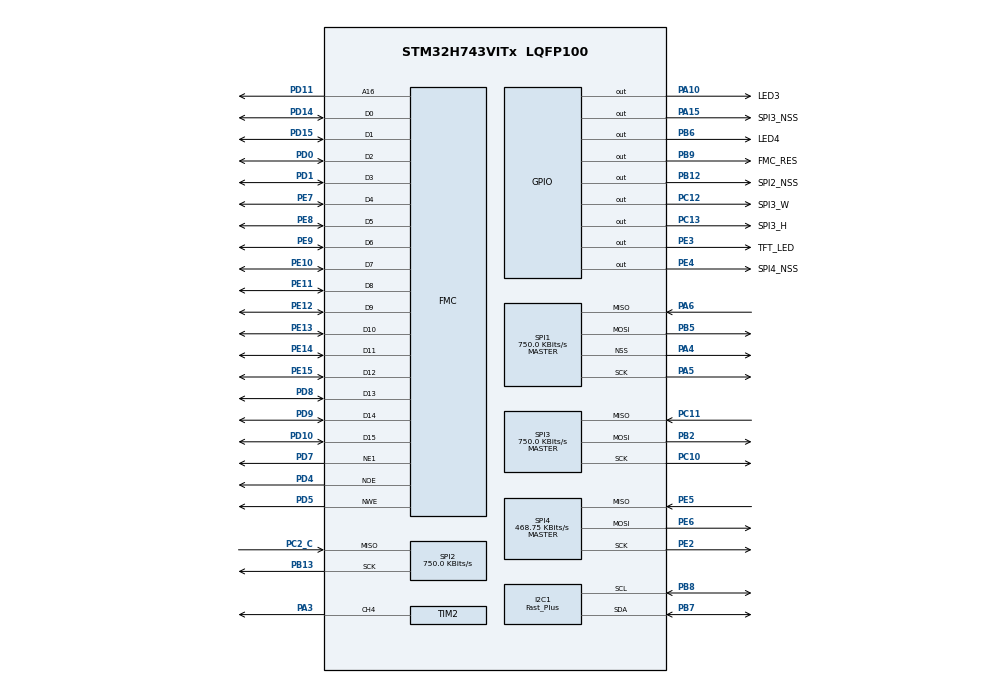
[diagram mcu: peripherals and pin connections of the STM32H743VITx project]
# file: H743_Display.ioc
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FMC.AddressSetupTime1=1
FMC.BusTurnAroundDuration1=1
FMC.DataSetupTime1=1
I2C1.I2C_Speed_Mode=I2C_Fast_Plus
I2C1.Speed=100
I2C1.Timing=0x301027FF
Mcu.Family=STM32H7
Mcu.Name=STM32H743VITx
Mcu.Package=LQFP100
NVIC.PriorityGroup=NVIC_PRIORITYGROUP_4
PA10.GPIO_Label=LED3
PA10.Signal=GPIO_Output
PA13\ (JTMS/SWDIO).Mode=Serial_Wire
PA13\ (JTMS/SWDIO).Signal=DEBUG_JTMS-SWDIO
PA14\ (JTCK/SWCLK).Mode=Serial_Wire
PA14\ (JTCK/SWCLK).Signal=DEBUG_JTCK-SWCLK
PA15\ (JTDI).GPIO_Label=SPI3_NSS
PA15\ (JTDI).Signal=GPIO_Output
PA3.Signal=S_TIM2_CH4
PA4.Mode=NSS_Signal_Hard_Output
PA4.Signal=SPI1_NSS
PA5.Mode=Full_Duplex_Master
PA5.Signal=SPI1_SCK
PA6.Mode=Full_Duplex_Master
PA6.Signal=SPI1_MISO
PB12.GPIO_Label=SPI2_NSS
PB12.Signal=GPIO_Output
PB13.Mode=RX_Only_Simplex_Unidirect_Master
PB13.Signal=SPI2_SCK
PB2.Mode=Full_Duplex_Master
PB2.Signal=SPI3_MOSI
PB5.Mode=Full_Duplex_Master
PB5.Signal=SPI1_MOSI
PB6.GPIO_Label=LED4
PB6.Signal=GPIO_Output
PB7.Mode=I2C
PB7.Signal=I2C1_SDA
PB8.Mode=I2C
PB8.Signal=I2C1_SCL
PB9.GPIO_Label=FMC_RES
PB9.Signal=GPIO_Output
PC10.Mode=Full_Duplex_Master
PC10.Signal=SPI3_SCK
PC11.Mode=Full_Duplex_Master
PC11.Signal=SPI3_MISO
PC12.GPIO_Label=SPI3_W
PC12.Signal=GPIO_Output
PC13.GPIO_Label=SPI3_H
PC13.Signal=GPIO_Output
PC2_C.Mode=RX_Only_Simplex_Unidirect_Master
PC2_C.Signal=SPI2_MISO
PD0.Signal=FMC_D2_DA2
PD1.Signal=FMC_D3_DA3
PD10.Signal=FMC_D15_DA15
PD11.Signal=FMC_A16_CLE
PD14.Signal=FMC_D0_DA0
PD15.Signal=FMC_D1_DA1
PD4.Signal=FMC_NOE
PD5.Signal=FMC_NWE
PD7.Mode=NorPsramChipSelect1_1
PD7.Signal=FMC_NE1
PD8.Signal=FMC_D13_DA13
PD9.Signal=FMC_D14_DA14
PE10.Signal=FMC_D7_DA7
PE11.Signal=FMC_D8_DA8
PE12.Signal=FMC_D9_DA9
PE13.Signal=FMC_D10_DA10
PE14.Signal=FMC_D11_DA11
PE15.Signal=FMC_D12_DA12
PE2.Mode=Full_Duplex_Master
PE2.Signal=SPI4_SCK
PE3.GPIO_Label=TFT_LED
PE3.Signal=GPIO_Output
PE4.GPIO_Label=SPI4_NSS
PE4.Signal=GPIO_Output
PE5.Mode=Full_Duplex_Master
PE5.Signal=SPI4_MISO
PE6.Mode=Full_Duplex_Master
PE6.Signal=SPI4_MOSI
PE7.Signal=FMC_D4_DA4
PE8.Signal=FMC_D5_DA5
PE9.Signal=FMC_D6_DA6
PH0-OSC_IN\ (PH0).Mode=HSE-External-Oscillator
PH0-OSC_IN\ (PH0).Signal=RCC_OSC_IN
PH1-OSC_OUT\ (PH1).Mode=HSE-External-Oscillator
PH1-OSC_OUT\ (PH1).Signal=RCC_OSC_OUT
ProjectManager.HeapSize=0x200
ProjectManager.StackSize=0x400
ProjectManager.TargetToolchain=STM32CubeIDE
RCC.ADCFreq_Value=16125000
RCC.APB1Freq_Value=120000000
RCC.APB2Freq_Value=120000000
RCC.APB3Freq_Value=120000000
RCC.APB4Freq_Value=120000000
RCC.CortexFreq_Value=480000000
RCC.D1PPRE=RCC_APB3_DIV2
RCC.D2PPRE1=RCC_APB1_DIV2
RCC.D2PPRE2=RCC_APB2_DIV2
RCC.D3PPRE=RCC_APB4_DIV2
RCC.DIVM1=1
RCC.DIVN1=120
RCC.DIVQ1=5
RCC.HCLKFreq_Value=240000000
RCC.HPRE=RCC_HCLK_DIV2
RCC.HSE_VALUE=8000000
RCC.PLL2FRACN=0
RCC.PLL3FRACN=0
RCC.PLLFRACN=0
RCC.PLLSourceVirtual=RCC_PLLSOURCE_HSE
RCC.PWR_Regulator_Voltage_Scale=PWR_REGULATOR_VOLTAGE_SCALE0
RCC.SYSCLKFreq_VALUE=480000000
RCC.SYSCLKSource=RCC_SYSCLKSOURCE_PLLCLK
RCC.USBFreq_Value=192000000
SH.FMC_A16_CLE.0=FMC_A16,A16_1
SH.FMC_D0_DA0.0=FMC_D0,16b-d1
SH.FMC_D10_DA10.0=FMC_D10,16b-d1
SH.FMC_D11_DA11.0=FMC_D11,16b-d1
SH.FMC_D12_DA12.0=FMC_D12,16b-d1
SH.FMC_D13_DA13.0=FMC_D13,16b-d1
SH.FMC_D14_DA14.0=FMC_D14,16b-d1
SH.FMC_D15_DA15.0=FMC_D15,16b-d1
SH.FMC_D1_DA1.0=FMC_D1,16b-d1
SH.FMC_D2_DA2.0=FMC_D2,16b-d1
SH.FMC_D3_DA3.0=FMC_D3,16b-d1
SH.FMC_D4_DA4.0=FMC_D4,16b-d1
SH.FMC_D5_DA5.0=FMC_D5,16b-d1
SH.FMC_D6_DA6.0=FMC_D6,16b-d1
SH.FMC_D7_DA7.0=FMC_D7,16b-d1
SH.FMC_D8_DA8.0=FMC_D8,16b-d1
SH.FMC_D9_DA9.0=FMC_D9,16b-d1
SH.FMC_NOE.0=FMC_NOE,Lcd1
SH.FMC_NWE.0=FMC_NWE,Lcd1
SH.S_TIM2_CH4.0=TIM2_CH4,PWM Generation4 CH4
SPI1.BaudRatePrescaler=SPI_BAUDRATEPRESCALER_256
SPI1.CalculateBaudRate=750.0 KBits/s
SPI1.DataSize=SPI_DATASIZE_8BIT
SPI1.Direction=SPI_DIRECTION_2LINES
SPI1.Mode=SPI_MODE_MASTER
SPI1.VirtualNSS=VM_NSSHARD
SPI1.VirtualType=VM_MASTER
SPI2.BaudRatePrescaler=SPI_BAUDRATEPRESCALER_256
SPI2.CalculateBaudRate=750.0 KBits/s
SPI2.DataSize=SPI_DATASIZE_8BIT
SPI2.Direction=SPI_DIRECTION_2LINES_RXONLY
SPI2.Mode=SPI_MODE_MASTER
SPI2.VirtualType=VM_MASTER
SPI3.BaudRatePrescaler=SPI_BAUDRATEPRESCALER_256
SPI3.CalculateBaudRate=750.0 KBits/s
SPI3.DataSize=SPI_DATASIZE_8BIT
SPI3.Direction=SPI_DIRECTION_2LINES
SPI3.Mode=SPI_MODE_MASTER
SPI3.NSSPMode=SPI_NSS_PULSE_DISABLE
SPI3.VirtualType=VM_MASTER
SPI4.BaudRatePrescaler=SPI_BAUDRATEPRESCALER_256
SPI4.CalculateBaudRate=468.75 KBits/s
SPI4.DataSize=SPI_DATASIZE_8BIT
SPI4.Direction=SPI_DIRECTION_2LINES
SPI4.Mode=SPI_MODE_MASTER
SPI4.VirtualType=VM_MASTER
TIM2.Channel-PWM\ Generation4\ CH4=TIM_CHANNEL_4
TIM2.Period=65535
TIM2.Prescaler=480
VP_TIM2_VS_ClockSourceINT.Mode=Internal
board=custom

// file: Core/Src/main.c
/* USER CODE BEGIN Header */
/**
  ******************************************************************************
  * @file           : main.c
  * @brief          : Main program body
  ******************************************************************************
  * @attention
  *
  * Copyright (c) 2022 STMicroelectronics.
  * All rights reserved.
  *
  * This software is licensed under terms that can be found in the LICENSE file
  * in the root directory of this software component.
  * If no LICENSE file comes with this software, it is provided AS-IS.
  *
  ******************************************************************************
  */
/* USER CODE END Header */
#include "main.h"
#include "i2c.h"
#include "spi.h"
#include "tim.h"
#include "gpio.h"
#include "fmc.h"

/* USER CODE BEGIN Includes */
#include "TFT_SSD1963.h"
#include "TFT_Buttons.h"
#include "Eeprom.h"
/* USER CODE END Includes */

/* USER CODE BEGIN PV */

SPI_HandleTypeDef hspi3;

uint16_t BeepTimer = 0;
uint8_t	TouchCounter = 0;
uint16_t TouchX = 0;
uint16_t TouchY = 0;
uint32_t TouchXadd = 0;
uint32_t TouchYadd = 0;
uint16_t TouchXresult = 0;
uint16_t TouchYresult = 0;
uint8_t TouchResult = 0;
uint8_t TouchPointer = 0;
uint16_t TouchTimer = 0;
uint8_t KeyNumber[6];
uint8_t KeyCounter = 0;

uint8_t Thermo[4];
uint32_t ThermoIn = 0;
uint32_t ThermoOut = 0;

uint8_t BufClock[12];
uint8_t i = 0;
uint8_t ret = 0;
uint16_t Pokus = 0;
/* USER CODE END PV */

void SystemClock_Config(void);

int main(void)
{
  /* USER CODE BEGIN 1 */

  TouchCounter = 0;

  /* USER CODE END 1 */

  /* MCU Configuration--------------------------------------------------------*/

  /* Reset of all peripherals, Initializes the Flash interface and the Systick. */
  HAL_Init();

  /* Configure the system clock */
  SystemClock_Config();

  /* USER CODE BEGIN SysInit */
  HAL_SYSTICK_Config( 480000 );
  /* USER CODE END SysInit */

  /* Initialize all configured peripherals */
  MX_GPIO_Init();
  MX_FMC_Init();
  MX_SPI4_Init();
  MX_TIM2_Init();
  MX_SPI1_Init();
  MX_SPI2_Init();
  MX_SPI3_Init();
  MX_I2C1_Init();
  /* USER CODE BEGIN 2 */

  LL_SPI_Enable(SPI4);
  LL_SPI_StartMasterTransfer(SPI4);		// for touch pad

  LL_SPI_Enable(SPI1);
  LL_SPI_StartMasterTransfer(SPI1);		// for connector

  TFT_Init();
  TFT_WindowFull( ColRed );
  HAL_Delay( 500 );
  TFT_WindowFull( ColGreen );
  HAL_Delay( 500 );
  HAL_GPIO_WritePin(LED3_GPIO_Port, LED3_Pin, GPIO_PIN_SET);
  TFT_WindowFull( ColBlue );
  Beep( 2000, 20);
  HAL_Delay( 500 );
  TFT_WindowFull( ColYellow );
  Beep( 1500, 20);
  HAL_Delay( 500 );
  TFT_WindowFull( ColBlack );
  Beep( 1000, 20);
  HAL_GPIO_WritePin(LED4_GPIO_Port, LED4_Pin, GPIO_PIN_SET);

  /* USER CODE END 2 */

  /* Infinite loop */
  /* USER CODE BEGIN WHILE */
  while (1)
  {
	  TFT_WindowFull( ColBlack );
	  TFT_ButtonString("MAX31855", ColWhite, ColBlue, ColBlack,   0, 400);
	  TFT_ButtonString("M95040", ColWhite, ColBlue, ColBlack, 160, 400);
	  TFT_ButtonString("Test 3", ColWhite, ColBlue, ColBlack, 320, 400);
	  TFT_ButtonString("Test 4", ColWhite, ColBlue, ColBlack, 480, 400);
	  TFT_ButtonString("Test 5", ColWhite, ColBlue, ColBlack, 640, 400);
	  TFT_ButtonClock(1, ColYellow, ColBlue, ColNavy, 4, 4);

	  while (1) {
		  if( TFT_ButtonStringCheck( 0, 400 ) == 1 ) {
				BufClock[0] = 0;
				BufClock[1] = 0;
				BufClock[2] = 0;
				BufClock[4] = 0;
			  MENU_Test1();
			  break;
		  }
		  if( TFT_ButtonStringCheck( 160, 400 ) == 1 ) {
			  MENU_Test2();
			  break;
		  }
		  if( TFT_ButtonStringCheck( 320, 400 ) == 1 ) {
			  MENU_Test3();
			  break;
		  }
		  if( TFT_ButtonStringCheck( 480, 400 ) == 1 ) {
			  MENU_Test4();
			  break;
		  }
		  if( TFT_ButtonStringCheck( 640, 400 ) == 1 ) {
			  MENU_Test5();
			  break;
		  }

		  TFT_ButtonClock(0, ColYellow, ColBlue, ColNavy, 4, 4);				// napise kolik je hodin
		  HAL_Delay(100);
		  if (TFT_ButtonClockCheck(4, 4) == 1) {
			  TFT_KeypadNumber("Year", ColCyan, ColRed, ColDarkCyan, 184, 4);
			  BufClock[7] = ClockNumer( TFT_KeypadNumberCheck(2, ColCyan, ColRed, ColDarkCyan, 184, 4));

			  TFT_KeypadNumber("Month", ColCyan, ColRed, ColDarkCyan, 184, 4);
			  BufClock[6] = ClockNumer( TFT_KeypadNumberCheck(2, ColCyan, ColRed, ColDarkCyan, 184, 4));

			  TFT_KeypadNumber("Date", ColCyan, ColRed, ColDarkCyan, 184, 4);
			  BufClock[5] = ClockNumer( TFT_KeypadNumberCheck(2, ColCyan, ColRed, ColDarkCyan, 184, 4));

			  TFT_KeypadNumber("Day", ColCyan, ColRed, ColDarkCyan, 184, 4);
			  BufClock[4] = ClockNumer( TFT_KeypadNumberCheck(2, ColCyan, ColRed, ColDarkCyan, 184, 4));

			  TFT_KeypadNumber("Hours", ColCyan, ColRed, ColDarkCyan, 184, 4);
			  BufClock[3] = ClockNumer( TFT_KeypadNumberCheck(2, ColCyan, ColRed, ColDarkCyan, 184, 4));

			  TFT_KeypadNumber("Minutes", ColCyan, ColRed, ColDarkCyan, 184, 4);
			  BufClock[2] = ClockNumer( TFT_KeypadNumberCheck(2, ColCyan, ColRed, ColDarkCyan, 184, 4));

			  TFT_KeypadNumber("Seconds", ColCyan, ColRed, ColDarkCyan, 184, 4);
			  BufClock[1] = ClockNumer( TFT_KeypadNumberCheck(2, ColCyan, ColRed, ColDarkCyan, 184, 4));

			  BufClock[0] = 0x00;
			  HAL_I2C_Master_Transmit(&hi2c1, 0xD0, BufClock, 7, HAL_MAX_DELAY);
			  break;
		  }

	//	  Thermo = LL_SPI_ReceiveData32(SPI2);
		  HAL_Delay(100);

	  }

    /* USER CODE END WHILE */

  }
}

void SystemClock_Config(void)
{
  LL_FLASH_SetLatency(LL_FLASH_LATENCY_4);
  while(LL_FLASH_GetLatency()!= LL_FLASH_LATENCY_4)
  {
  }
  LL_PWR_ConfigSupply(LL_PWR_LDO_SUPPLY);
  LL_PWR_SetRegulVoltageScaling(LL_PWR_REGU_VOLTAGE_SCALE0);
  LL_RCC_HSE_Enable();

   /* Wait till HSE is ready */
  while(LL_RCC_HSE_IsReady() != 1)
  {

  }
  LL_RCC_PLL_SetSource(LL_RCC_PLLSOURCE_HSE);
  LL_RCC_PLL1P_Enable();
  LL_RCC_PLL1Q_Enable();
  LL_RCC_PLL1R_Enable();
  LL_RCC_PLL1_SetVCOInputRange(LL_RCC_PLLINPUTRANGE_8_16);
  LL_RCC_PLL1_SetVCOOutputRange(LL_RCC_PLLVCORANGE_WIDE);
  LL_RCC_PLL1_SetM(1);
  LL_RCC_PLL1_SetN(120);
  LL_RCC_PLL1_SetP(2);
  LL_RCC_PLL1_SetQ(5);
  LL_RCC_PLL1_SetR(2);
  LL_RCC_PLL1_Enable();

   /* Wait till PLL is ready */
  while(LL_RCC_PLL1_IsReady() != 1)
  {
  }

   /* Intermediate AHB prescaler 2 when target frequency clock is higher than 80 MHz */
   LL_RCC_SetAHBPrescaler(LL_RCC_AHB_DIV_2);

  LL_RCC_SetSysClkSource(LL_RCC_SYS_CLKSOURCE_PLL1);

   /* Wait till System clock is ready */
  while(LL_RCC_GetSysClkSource() != LL_RCC_SYS_CLKSOURCE_STATUS_PLL1)
  {

  }
  LL_RCC_SetSysPrescaler(LL_RCC_SYSCLK_DIV_1);
  LL_RCC_SetAHBPrescaler(LL_RCC_AHB_DIV_2);
  LL_RCC_SetAPB1Prescaler(LL_RCC_APB1_DIV_2);
  LL_RCC_SetAPB2Prescaler(LL_RCC_APB2_DIV_2);
  LL_RCC_SetAPB3Prescaler(LL_RCC_APB3_DIV_2);
  LL_RCC_SetAPB4Prescaler(LL_RCC_APB4_DIV_2);
  LL_SetSystemCoreClock(480000000);

   /* Update the time base */
  if (HAL_InitTick (TICK_INT_PRIORITY) != HAL_OK)
  {
    Error_Handler();
  }
}

/* USER CODE BEGIN 4 */

void MENU_Test1( void ) {						// MAX31855 temperature sensor reading
	TFT_WindowFull( ColDarkGreen );
	TFT_ButtonString("M95040", ColWhite, ColBlue, ColBlack,   0, 400);
	TFT_ButtonString("Test 3", ColWhite, ColBlue, ColBlack, 160, 400);
	TFT_ButtonString("Test 4", ColWhite, ColBlue, ColBlack, 320, 400);
	TFT_ButtonString("Test 5", ColWhite, ColBlue, ColBlack, 480, 400);
	TFT_ButtonString("EXIT", ColWhite, ColBlue, ColBlack, 640, 400);
	while(1) {

		HAL_GPIO_WritePin(SPI2_NSS_GPIO_Port, SPI2_NSS_Pin, GPIO_PIN_RESET);
		HAL_SPI_Receive(&hspi2, Thermo, 4, 1000);
		HAL_GPIO_WritePin(SPI2_NSS_GPIO_Port, SPI2_NSS_Pin, GPIO_PIN_SET);
		HAL_Delay(10);

		TFT_PrintString(0, "MAX31855 data array", ColRed, ColDarkGreen, 0, 10);
		TFT_PrintNumber(0, Thermo[0], 3, 0, ColYellow, ColDarkGreen, 200, 10);
		TFT_PrintNumber(0, Thermo[1], 3, 0, ColYellow, ColDarkGreen, 280, 10);
		TFT_PrintNumber(0, Thermo[2], 3, 0, ColYellow, ColDarkGreen, 350, 10);
		TFT_PrintNumber(0, Thermo[3], 3, 0, ColYellow, ColDarkGreen, 420, 10);

		ThermoIn = (Thermo[3] >> 4) | (Thermo[2] << 4);
		ThermoIn = ThermoIn * 625;

		ThermoOut = (Thermo[1] >> 2) | (Thermo[0] << 6);
		ThermoOut &= 0x03FFF;
		ThermoOut = ThermoOut * 25;

		TFT_PrintString(2, "Error", ColYellow, ColDarkGreen, 10, 60);
		TFT_PrintNumber(2, (Thermo[3] & 0x0F) , 2, 0, ColYellow, ColDarkGreen, 200, 60);
		TFT_PrintString(2, "ThermoIn", ColYellow, ColDarkGreen, 10, 120);
		TFT_PrintNumber(2, ThermoIn, 10, 4, ColYellow, ColDarkGreen, 200, 120);
		TFT_PrintString(2, "ThermoOut", ColYellow, ColDarkGreen, 10, 180);
		TFT_PrintNumber(2, ThermoOut, 10, 2, ColYellow, ColDarkGreen, 200, 180);

		if( TFT_ButtonStringCheck( 0, 400 ) == 1 ) {
			MENU_Test2();
			break;
		}
		if( TFT_ButtonStringCheck( 160, 400 ) == 1 ) {
			MENU_Test3();
			break;
		}
		if( TFT_ButtonStringCheck( 320, 400 ) == 1 ) {
		  	MENU_Test4();
		  	break;
		}
		if( TFT_ButtonStringCheck( 480, 400 ) == 1 ) {
			MENU_Test5();
			break;
		}
		if( TFT_ButtonStringCheck( 640, 400 ) == 1 ) break;
	}
}

void MENU_Test2( void ) {							// EEPROM M95040 - testing
	TFT_WindowFull( ColDarkBlue );
	TFT_ButtonString("MAX31855", ColWhite, ColBlue, ColBlack,   0, 400);
	TFT_ButtonString("Test 3", ColWhite, ColBlue, ColBlack, 160, 400);
	TFT_ButtonString("Test 4", ColWhite, ColBlue, ColBlack, 320, 400);
	TFT_ButtonString("Test 5", ColWhite, ColBlue, ColBlack, 480, 400);
	TFT_ButtonString("EXIT", ColWhite, ColBlue, ColBlack, 640, 400);

	TFT_ButtonString("Write 1", ColWhite, ColGreen, ColDarkBlue, 0, 0);
	TFT_ButtonString("Write 2", ColWhite, ColGreen, ColDarkBlue, 160, 0);
	TFT_ButtonString("Write 3", ColWhite, ColGreen, ColDarkBlue, 320, 0);
	TFT_ButtonString("Write 4", ColWhite, ColGreen, ColDarkBlue, 480, 0);
	TFT_ButtonString("Read", ColWhite, ColGreen, ColDarkBlue, 640, 0);

	while(1) {

		if( TFT_ButtonStringCheck( 0, 0 ) == 1 ) {
			BufClock[0] = 10;
			BufClock[1] = 120;
			BufClock[2] = 235;
			BufClock[3] = 88;
			BufClock[4] = 200;
			BufClock[5] = 114;
			BufClock[6] = 30;
			BufClock[7] = 255;
			BufClock[8] = 78;
			PrintArray(8, 0, 120 );
			EEPROM_SPI_INIT(&hspi3);

			EEPROM_SPI_WriteBuffer(BufClock, (uint16_t)0x01, (uint16_t)9 );

			Pokus = BufClock[1] * 256 + BufClock[0];
			TFT_PrintNumber(0, Pokus, 5, 0, ColYellow, ColDarkBlue, 0, 200);

			BufClock[0] = (uint8_t) Pokus >> 8;
			BufClock[1] = (uint8_t) Pokus;

			Pokus = BufClock[2] * 256 + BufClock[3];
			TFT_PrintNumber(0, Pokus, 5, 0, ColYellow, ColDarkBlue, 100, 200);

			BufClock[3] = (uint8_t) Pokus >> 8;
			BufClock[2] = (uint8_t) (Pokus);

			Pokus = BufClock[5] * 256 + BufClock[4];
			TFT_PrintNumber(0, Pokus, 5, 0, ColYellow, ColDarkBlue, 200, 200);

			BufClock[5] = Pokus >> 8;
			BufClock[4] = (uint8_t) Pokus;

			Pokus = BufClock[7] * 256 + BufClock[8];
			TFT_PrintNumber(0, Pokus, 5, 0, ColYellow, ColDarkBlue, 400, 200);

			BufClock[7] = Pokus >> 8;
			BufClock[8] = (uint8_t) (Pokus);

			PrintArray(8, 0, 240 );

		}
		if( TFT_ButtonStringCheck( 160, 0 ) == 1 ) {
			BufClock[0] = 0;
			BufClock[1] = 0;
			BufClock[2] = 0;
			BufClock[3] = 0;
			BufClock[4] = 0;
			BufClock[5] = 0;
			BufClock[6] = 0;
			BufClock[7] = 0;
			BufClock[8] = 0;
			PrintArray(8, 0, 120 );
			EEPROM_SPI_INIT(&hspi3);

			EEPROM_SPI_WriteBuffer(BufClock, (uint16_t)0x01, (uint16_t)9 );
		}
		if( TFT_ButtonStringCheck( 320, 0 ) == 1 ) {
			BufClock[0] = 100;
			BufClock[1] = 90;
			BufClock[2] = 80;
			BufClock[3] = 70;
			BufClock[4] = 60;
			BufClock[5] = 50;
			BufClock[6] = 40;
			BufClock[7] = 30;
			BufClock[8] = 20;
			PrintArray(8, 0, 120 );
			EEPROM_SPI_INIT(&hspi3);

			EEPROM_SPI_WriteBuffer(BufClock, (uint16_t)0x01, (uint16_t)9 );
		}
		if( TFT_ButtonStringCheck( 480, 0 ) == 1 ) {
			BufClock[0] = 55;
			BufClock[1] = 75;
			BufClock[2] = 95;
			BufClock[3] = 115;
			BufClock[4] = 135;
			BufClock[5] = 155;
			BufClock[6] = 175;
			BufClock[7] = 195;
			BufClock[8] = 215;
			PrintArray(8, 0, 120 );
			EEPROM_SPI_INIT(&hspi3);

			EEPROM_SPI_WriteBuffer(BufClock, (uint16_t)0x01, (uint16_t)9 );
		}
		if( TFT_ButtonStringCheck( 640, 0 ) == 1 ) {
			EEPROM_SPI_INIT(&hspi3);
			EEPROM_SPI_ReadBuffer(BufClock, (uint16_t)0x01, (uint16_t)9 );
			PrintArray(8, 0, 150 );
		}

		if( TFT_ButtonStringCheck( 0, 400 ) == 1 ) {
			MENU_Test1();
			break;
		}
		if( TFT_ButtonStringCheck( 160, 400 ) == 1 ) {
			MENU_Test3();
			break;
		}
		if( TFT_ButtonStringCheck( 320, 400 ) == 1 ) {
		  	MENU_Test4();
		  	break;
		}
		if( TFT_ButtonStringCheck( 480, 400 ) == 1 ) {
			MENU_Test5();
			break;
		}
		if( TFT_ButtonStringCheck( 640, 400 ) == 1 ) break;
	}
}

void MENU_Test3( void ) {
	TFT_WindowFull( ColDarkGrey );
	TFT_ButtonString("MAX31855", ColWhite, ColBlue, ColBlack,   0, 400);
	TFT_ButtonString("M95040", ColWhite, ColBlue, ColBlack, 160, 400);
	TFT_ButtonString("Test 4", ColWhite, ColBlue, ColBlack, 320, 400);
	TFT_ButtonString("Test 5", ColWhite, ColBlue, ColBlack, 480, 400);
	TFT_ButtonString("EXIT", ColWhite, ColBlue, ColBlack, 640, 400);
	while(1) {
		if( TFT_ButtonStringCheck( 0, 400 ) == 1 ) {
			MENU_Test1();
			break;
		}
		if( TFT_ButtonStringCheck( 160, 400 ) == 1 ) {
			MENU_Test2();
			break;
		}
		if( TFT_ButtonStringCheck( 320, 400 ) == 1 ) {
		  	MENU_Test4();
		  	break;
		}
		if( TFT_ButtonStringCheck( 480, 400 ) == 1 ) {
			MENU_Test5();
			break;
		}
		if( TFT_ButtonStringCheck( 640, 400 ) == 1 ) break;
	}
}

void MENU_Test4( void ) {
	TFT_WindowFull( ColDarkCyan );
	TFT_ButtonString("MAX31855", ColWhite, ColBlue, ColBlack,   0, 400);
	TFT_ButtonString("M95040", ColWhite, ColBlue, ColBlack, 160, 400);
	TFT_ButtonString("Test 3", ColWhite, ColBlue, ColBlack, 320, 400);
	TFT_ButtonString("Test 5", ColWhite, ColBlue, ColBlack, 480, 400);
	TFT_ButtonString("EXIT", ColWhite, ColBlue, ColBlack, 640, 400);
	while(1) {
		if( TFT_ButtonStringCheck( 0, 400 ) == 1 ) {
			MENU_Test1();
			break;
		}
		if( TFT_ButtonStringCheck( 160, 400 ) == 1 ) {
			MENU_Test2();
			break;
		}
		if( TFT_ButtonStringCheck( 320, 400 ) == 1 ) {
		  	MENU_Test3();
		  	break;
		}
		if( TFT_ButtonStringCheck( 480, 400 ) == 1 ) {
			MENU_Test5();
			break;
		}
		if( TFT_ButtonStringCheck( 640, 400 ) == 1 ) break;
	}
}

void MENU_Test5( void ) {
	TFT_WindowFull( ColDarkRed );
	TFT_ButtonString("MAX31855", ColWhite, ColBlue, ColBlack,   0, 400);
	TFT_ButtonString("M95040", ColWhite, ColBlue, ColBlack, 160, 400);
	TFT_ButtonString("Test 3", ColWhite, ColBlue, ColBlack, 320, 400);
	TFT_ButtonString("Test 4", ColWhite, ColBlue, ColBlack, 480, 400);
	TFT_ButtonString("EXIT", ColWhite, ColBlue, ColBlack, 640, 400);
	while(1) {
		if( TFT_ButtonStringCheck( 0, 400 ) == 1 ) {
			MENU_Test1();
		}
		if( TFT_ButtonStringCheck( 160, 400 ) == 1 ) {
			MENU_Test2();
		}
		if( TFT_ButtonStringCheck( 320, 400 ) == 1 ) {
		  	MENU_Test3();
		}
		if( TFT_ButtonStringCheck( 480, 400 ) == 1 ) {
			MENU_Test4();
		}
		if( TFT_ButtonStringCheck( 640, 400 ) == 1 ) break;
	}
}

void Beep( uint32_t Tone, uint16_t Time) {
  LL_TIM_InitTypeDef TIM_InitStruct = {0};
  LL_TIM_OC_InitTypeDef TIM_OC_InitStruct = {0};
  TIM_InitStruct.Prescaler = 480;
  TIM_InitStruct.CounterMode = LL_TIM_COUNTERMODE_UP;
  TIM_InitStruct.Autoreload = 65535;
  TIM_InitStruct.ClockDivision = LL_TIM_CLOCKDIVISION_DIV1;
  LL_TIM_Init(TIM2, &TIM_InitStruct);
  LL_TIM_DisableARRPreload(TIM2);
  LL_TIM_OC_EnablePreload(TIM2, LL_TIM_CHANNEL_CH4);
  TIM_OC_InitStruct.OCMode = LL_TIM_OCMODE_PWM1;
  TIM_OC_InitStruct.OCState = LL_TIM_OCSTATE_ENABLE;
  TIM_OC_InitStruct.OCNState = LL_TIM_OCSTATE_DISABLE;
  TIM_OC_InitStruct.CompareValue = 0;
  TIM_OC_InitStruct.OCPolarity = LL_TIM_OCPOLARITY_HIGH;
  LL_TIM_OC_Init(TIM2, LL_TIM_CHANNEL_CH4, &TIM_OC_InitStruct);
  LL_TIM_OC_DisableFast(TIM2, LL_TIM_CHANNEL_CH4);
  LL_TIM_SetTriggerOutput(TIM2, LL_TIM_TRGO_RESET);
  LL_TIM_DisableMasterSlaveMode(TIM2);

  Tone = 1000000 / Tone;
  if(!LL_TIM_IsEnabledCounter(TIM2)) {
	LL_TIM_EnableCounter(TIM2);
	LL_TIM_EnableAllOutputs(TIM2);
  }
  LL_TIM_SetAutoReload(TIM2, Tone);
  Tone = Tone >> 1;
  LL_TIM_OC_SetCompareCH4(TIM2, Tone);
  BeepTimer = Time;
}

void PrintArray( uint8_t imax, uint16_t x, uint16_t y) {
	uint8_t i;
	for( i = 0; i < imax; i++) {
		TFT_PrintNumber(0, BufClock[i], 3, 0, ColYellow, ColDarkBlue, x + i * 80, y);
	}
}

/* USER CODE END 4 */

void Error_Handler(void)
{
  __disable_irq();
  while (1)
  {
  }
}
